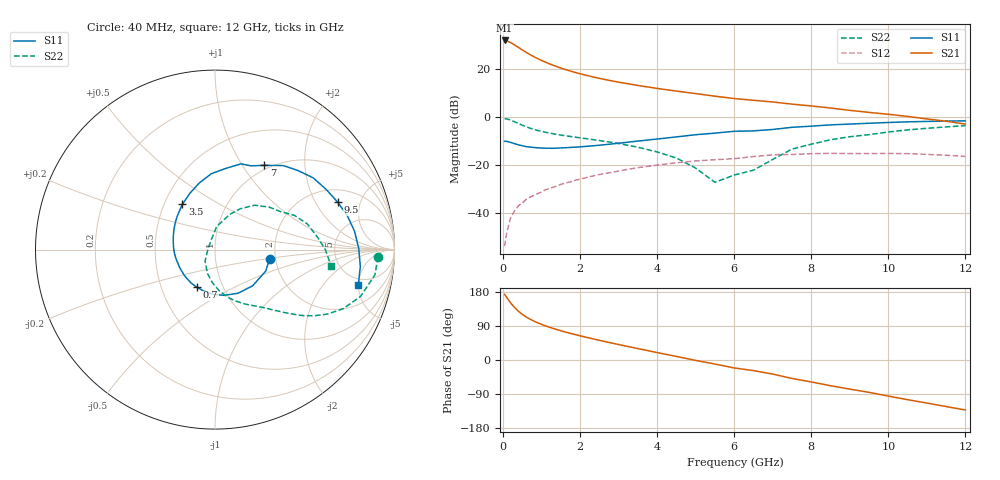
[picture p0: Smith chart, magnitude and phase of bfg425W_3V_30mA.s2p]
! Filename: 330bfg425.001
! BFG425W Field C1
! V1=8.550E-001V,V2=3.000E+000V, I1=4.198E-004A, I2=3.001E-002A
# GHz  S  MA  R 50
!  S11  S21  S12  S22
!Freq(GHz)  Mag  Ang  Mag  Ang  Mag  Ang  Mag  Ang
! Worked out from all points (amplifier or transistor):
!   44 points, 40 MHz to 12 GHz, reference 50 ohm
!   highest |S21| = 31.8 dB at 40 MHz (marker M1)
!   |S21| within 3 dB of that: start of sweep to 408 MHz
!   unconditionally stable (mu >= 1): start of sweep to 44.53 MHz; 1.114 GHz to end of sweep
!   at 700 MHz: K = 0.85, MSG = 29.8 dB, |S12| = -33.6 dB
!   at 2.4 GHz: K = 1.17, MAG = 17.9 dB, |S12| = -24.4 dB
!   at 12 GHz: K = 1.35, MAG = 3.2 dB, |S12| = -16.5 dB
!   S11 on the Smith chart (normalised r, x): 40 MHz: 1.86, -0.21; 700 MHz: 0.75, -0.34; 3.5 GHz: 0.62, +0.35; 7 GHz: 0.94, +1.26; 9.5 GHz: 2.73, +3.11; 12 GHz: 4.13, -4.96
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0.04  0.309 -9.4  39.11 173.2  0.002 81.2  0.909 -2.5
0.1  0.307 -22.9  38.18 164.1  0.004 80.7  0.902 -8.9
0.2  0.291 -43.9  35.26 150.0  0.008 74.6  0.852 -17.8
0.3  0.275 -62.1  31.52 138.4  0.011 70.9  0.787 -24.7
0.4  0.26 -78.7  27.96 128.6  0.014 68.7  0.722 -29.8
0.5  0.249 -93.2  24.8 120.3  0.016 66.6  0.666 -33.6
0.6  0.239 -105.3  22.1 113.5  0.019 65.3  0.619 -36.5
0.7  0.233 -115.5  19.84 107.8  0.021 64.1  0.579 -38.8
0.9  0.225 -133.1  16.33 98.1  0.025 62.8  0.519 -42.4
1.2  0.221 -153.2  12.75 86.6  0.032 60.7  0.458 -46.8
1.6  0.226 -173.8  9.79 74.4  0.041 57.8  0.404 -52.1
2.2  0.243 163.0  7.203 59.0  0.055 51.7  0.346 -61.1
2.8  0.27 144.3  5.66 45.2  0.069 44.5  0.294 -70.9
3.5  0.311 125.7  4.502 30.1  0.087 34.9  0.232 -83.8
4.5  0.381 103.4  3.438 9.4  0.11 19.9  0.138 -108.1
5.5  0.456 82.6  2.689 -10.7  0.127 4.2  0.043 -168.6
6.5  0.508 66.7  2.207 -28.0  0.148 -8.3  0.077 98.4
7  0.544 59.7  2.038 -37.2  0.161 -16.0  0.129 85.9
8.5  0.678 36.1  1.523 -67.9  0.173 -45.2  0.332 48.2
9.5  0.733 21.1  1.235 -85.4  0.171 -61.8  0.424 29.7
10.5  0.784 7.5  1.018 -104.7  0.17 -80.2  0.533 15.7
12  0.822 -13.7  0.704 -131.9  0.149 -109.8  0.654 -8.1
